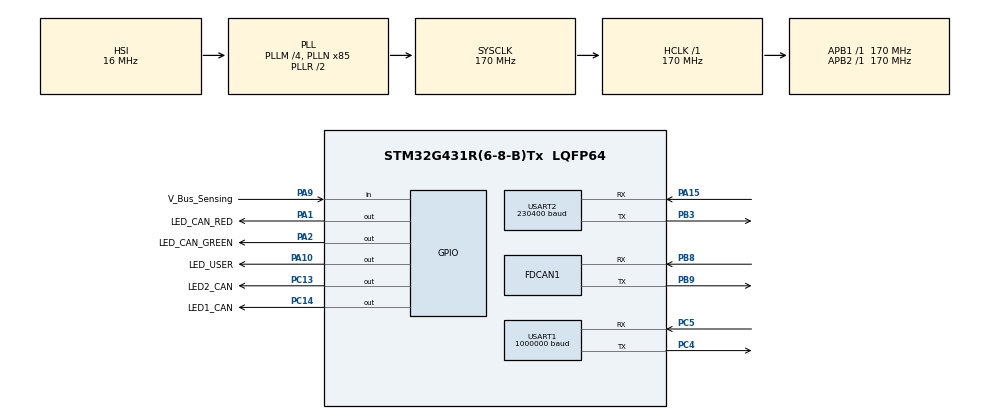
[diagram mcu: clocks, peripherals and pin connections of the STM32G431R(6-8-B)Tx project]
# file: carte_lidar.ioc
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FDCAN1.CalculateBaudRateNominal=499999
FDCAN1.CalculateTimeBitNominal=2000
FDCAN1.CalculateTimeQuantumNominal=23.529411764705884
FDCAN1.DataPrescaler=10
FDCAN1.DataSyncJumpWidth=11
FDCAN1.DataTimeSeg1=22
FDCAN1.DataTimeSeg2=11
FDCAN1.NominalPrescaler=4
FDCAN1.NominalSyncJumpWidth=28
FDCAN1.NominalTimeSeg1=56
FDCAN1.NominalTimeSeg2=28
Mcu.Family=STM32G4
Mcu.Name=STM32G431R(6-8-B)Tx
Mcu.Package=LQFP64
NVIC.FDCAN1_IT0_IRQn=true\:0\:0\:false\:false\:true\:true\:true\:true
NVIC.FDCAN1_IT1_IRQn=true\:0\:0\:false\:false\:true\:true\:true\:true
NVIC.PriorityGroup=NVIC_PRIORITYGROUP_4
NVIC.TIM2_IRQn=true\:0\:0\:false\:false\:true\:true\:true\:true
NVIC.TIM6_DAC_IRQn=true\:0\:0\:false\:false\:true\:true\:true\:true
NVIC.USART1_IRQn=true\:0\:0\:false\:false\:true\:true\:true\:true
PA1.GPIO_Label=LED_CAN_RED
PA1.Signal=GPIO_Output
PA10.GPIO_Label=LED_USER
PA10.Signal=GPIO_Output
PA13.Mode=Serial_Wire
PA13.Signal=SYS_JTMS-SWDIO
PA14.Mode=Serial_Wire
PA14.Signal=SYS_JTCK-SWCLK
PA15.GPIO_PuPd=GPIO_PULLUP
PA15.Mode=Asynchronous
PA15.Signal=USART2_RX
PA2.GPIO_Label=LED_CAN_GREEN
PA2.Signal=GPIO_Output
PA9.GPIO_Label=V_Bus_Sensing
PA9.Signal=GPIO_Input
PB3.Mode=Asynchronous
PB3.Signal=USART2_TX
PB8-BOOT0.Mode=FDCAN_Activate
PB8-BOOT0.Signal=FDCAN1_RX
PB9.Mode=FDCAN_Activate
PB9.Signal=FDCAN1_TX
PC13.GPIO_Label=LED2_CAN
PC13.Signal=GPIO_Output
PC14-OSC32_IN.GPIO_Label=LED1_CAN
PC14-OSC32_IN.Signal=GPIO_Output
PC4.Mode=Asynchronous
PC4.Signal=USART1_TX
PC5.Mode=Asynchronous
PC5.Signal=USART1_RX
PF0-OSC_IN.Mode=HSE-External-Clock-Source
PF0-OSC_IN.Signal=RCC_OSC_IN
ProjectManager.HeapSize=0x200
ProjectManager.StackSize=0x400
ProjectManager.TargetToolchain=CMake
RCC.ADC12Freq_Value=170000000
RCC.AHBFreq_Value=170000000
RCC.APB1Freq_Value=170000000
RCC.APB1TimFreq_Value=170000000
RCC.APB2Freq_Value=170000000
RCC.APB2TimFreq_Value=170000000
RCC.CortexFreq_Value=170000000
RCC.EXTERNAL_CLOCK_VALUE=12288000
RCC.HCLKFreq_Value=170000000
RCC.HSE_VALUE=8000000
RCC.HSI48_VALUE=48000000
RCC.HSI_VALUE=16000000
RCC.LSE_VALUE=32768
RCC.PLLM=RCC_PLLM_DIV4
RCC.PLLN=85
RCC.PLLQ=RCC_PLLQ_DIV4
RCC.SYSCLKFreq_VALUE=170000000
RCC.SYSCLKSource=RCC_SYSCLKSOURCE_PLLCLK
RCC.USBFreq_Value=85000000
RCC.VCOOutputFreq_Value=340000000
TIM2.AutoReloadPreload=TIM_AUTORELOAD_PRELOAD_DISABLE
TIM2.PeriodNoDither=100
TIM2.Prescaler=17000
TIM6.PeriodNoDither=1000
TIM6.Prescaler=169
USART1.BaudRate=1000000
USART1.VirtualMode-Asynchronous=VM_ASYNC
USART2.BaudRate=230400
USART2.VirtualMode-Asynchronous=VM_ASYNC
VP_SYS_VS_DBSignals.Mode=DisableDeadBatterySignals
VP_TIM2_VS_ClockSourceINT.Mode=Internal
VP_TIM6_VS_ClockSourceINT.Mode=Enable_Timer
board=custom

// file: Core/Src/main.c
/* USER CODE BEGIN Header */
/**
  ******************************************************************************
  * @file           : main.c
  * @brief          : Main program body
  ******************************************************************************
  * @attention
  *
  * Copyright (c) 2026 STMicroelectronics.
  * All rights reserved.
  *
  * This software is licensed under terms that can be found in the LICENSE file
  * in the root directory of this software component.
  * If no LICENSE file comes with this software, it is provided AS-IS.
  *
  ******************************************************************************
  */
/* USER CODE END Header */
#include "main.h"
#include "canopen_cmd.h"
#include "fdcan.h"
#include "lidar_data_processor.h"
#include "tim.h"
#include "usart.h"
#include "gpio.h"

/* USER CODE BEGIN Includes */
# include "lidar_reader.h"
# include "lipkg_copy.h"
# include "stm32g4xx_hal_def.h"
# include <stdio.h>
# include <memory.h>

# include "CO_app_STM32.h"

/* USER CODE END Includes */

void SystemClock_Config(void);
/* USER CODE BEGIN PFP */
# define PUTCHAR_PROTOTYPE int __io_putchar(int ch)
/* USER CODE END PFP */

/* USER CODE BEGIN 0 */
PUTCHAR_PROTOTYPE
{
	HAL_UART_Transmit(&huart1, (uint8_t*)&ch, 1, 0xFFFF);
	return ch;
}

/* USER CODE END 0 */

int main(void)
{

  /* MCU Configuration--------------------------------------------------------*/

  /* Reset of all peripherals, Initializes the Flash interface and the Systick. */
  HAL_Init();

  /* Configure the system clock */
  SystemClock_Config();

  /* Initialize all configured peripherals */
  MX_GPIO_Init();
  MX_FDCAN1_Init();
  MX_TIM2_Init();
  MX_TIM6_Init();
  MX_USART2_UART_Init();
  MX_USART1_UART_Init();
  /* USER CODE BEGIN 2 */

  /** CANopen stack initialization */
  CANopenNodeSTM32 canopenNodeSTM32;
  canopenNodeSTM32.CANHandle = &hfdcan1;
  canopenNodeSTM32.HWInitFunction = MX_FDCAN1_Init;
  canopenNodeSTM32.timerHandle = &htim6;
  canopenNodeSTM32.desiredNodeID = 3;
  canopenNodeSTM32.baudrate = 500;
  canopen_app_init(&canopenNodeSTM32);

  /** Mode POLLING simple - PAS d'interruptions UART2 */
  // __HAL_UART_ENABLE_IT(&huart2, UART_IT_RXNE);  // DÉSACTIVÉ: polling pur

  printf("[LIDAR] Using POLLING mode (simple 1-buffer) for UART2 reception\r\n");
  printf("[LIDAR] LIDAR configured at %lu bauds\r\n", huart2.Init.BaudRate);
  printf("[LIDAR] Buffer size: %d bytes (single buffer)\r\n", LIDAR_RX_BUFFER_SIZE);
  printf("[LIDAR] Ready to receive LIDAR data\r\n");

  canopen_cmd_init();

  /* USER CODE END 2 */

  /* Infinite loop */
  /* USER CODE BEGIN WHILE */

  // Machine à états simple: 0 = FILLING, 1 = PROCESSING
  static int buffer_state = 0;
  static uint16_t buffer_index = 0;

  // Variables de diagnostic
  static uint32_t loop_count = 0;
  static uint32_t last_print_tick = 0;
  static uint32_t bytes_received = 0;
  static uint32_t errors_ore = 0;
  static uint32_t errors_fe = 0;
  static uint32_t errors_ne = 0;

  while (1)
  {
    /* USER CODE END WHILE */

    /* USER CODE BEGIN 3 */

    loop_count++;

	// update the robot position used when calculating the absolute position of the points on the table
	canopen_cmd_fetch_robot_pos();
	// printf("robot pos is %i, %i and %i\r\n", get_robot_x(), get_robot_y(), get_robot_theta());

    // === DIAGNOSTIC: Affiche les flags UART2 toutes les secondes ===
    if (HAL_GetTick() - last_print_tick >= 1000)
    {
      printf("[DEBUG] RXNE=%d ORE=%d FE=%d NE=%d PE=%d TXE=%d TC=%d | Loops=%lu Bytes=%u State=%d Idx=%u\r\n",
        __HAL_UART_GET_FLAG(&huart2, UART_FLAG_RXNE) ? 1 : 0,
        __HAL_UART_GET_FLAG(&huart2, UART_FLAG_ORE) ? 1 : 0,
        __HAL_UART_GET_FLAG(&huart2, UART_FLAG_FE) ? 1 : 0,
        __HAL_UART_GET_FLAG(&huart2, UART_FLAG_NE) ? 1 : 0,
        __HAL_UART_GET_FLAG(&huart2, UART_FLAG_PE) ? 1 : 0,
        __HAL_UART_GET_FLAG(&huart2, UART_FLAG_TXE) ? 1 : 0,
        __HAL_UART_GET_FLAG(&huart2, UART_FLAG_TC) ? 1 : 0,
        loop_count, bytes_received, buffer_state, buffer_index);

      printf("[ERRORS] ORE=%lu FE=%lu NE=%lu\r\n", errors_ore, errors_fe, errors_ne);

      last_print_tick = HAL_GetTick();
      loop_count = 0;  // Reset compteur de loops
    }

    // === CLEAR des flags d'erreur UART2 ===
    if (__HAL_UART_GET_FLAG(&huart2, UART_FLAG_ORE))
    {
      __HAL_UART_CLEAR_FLAG(&huart2, UART_CLEAR_OREF);
      errors_ore++;
    }
    if (__HAL_UART_GET_FLAG(&huart2, UART_FLAG_FE))
    {
      __HAL_UART_CLEAR_FLAG(&huart2, UART_CLEAR_FEF);
      errors_fe++;
    }
    if (__HAL_UART_GET_FLAG(&huart2, UART_FLAG_NE))
    {
      __HAL_UART_CLEAR_FLAG(&huart2, UART_CLEAR_NEF);
      errors_ne++;
    }

    // === ÉTAT FILLING: Remplir le buffer via polling UART2 ===
    if (buffer_state == 0)
    {
      // Polling: Y a-t-il un byte disponible sur UART2 ?
      if (__HAL_UART_GET_FLAG(&huart2, UART_FLAG_RXNE))
      {
        // Lire le byte (efface automatiquement le flag RXNE)
        uint8_t byte = (uint8_t)(huart2.Instance->RDR & 0xFFU);

        // Stocker dans le buffer unique
        lidar_rx_buffer_1[buffer_index] = byte;
        buffer_index++;
        bytes_received++;

        // Buffer plein (4000 bytes) ? → Passer en mode PROCESSING
        if (buffer_index >= LIDAR_RX_BUFFER_SIZE)
        {
          buffer_state = 1;  // PROCESSING
          buffer_index = 0;
        }
      }
    }
    // === ÉTAT PROCESSING: Traiter le buffer complet ===
    else
    {
      // Traiter les 4000 bytes avec AnalysisOne() et détection 360°
      lidar_process_buffer(lidar_rx_buffer_1);

      // Traitement terminé → Retour en mode FILLING
      buffer_state = 0;
      buffer_index = 0;
    }

    canopen_app_process();

  }
  /* USER CODE END 3 */
}

void SystemClock_Config(void)
{
  RCC_OscInitTypeDef RCC_OscInitStruct = {0};
  RCC_ClkInitTypeDef RCC_ClkInitStruct = {0};

  /** Configure the main internal regulator output voltage
  */
  HAL_PWREx_ControlVoltageScaling(PWR_REGULATOR_VOLTAGE_SCALE1_BOOST);

  /** Initializes the RCC Oscillators according to the specified parameters
  * in the RCC_OscInitTypeDef structure.
  */
  RCC_OscInitStruct.OscillatorType = RCC_OSCILLATORTYPE_HSI;
  RCC_OscInitStruct.HSIState = RCC_HSI_ON;
  RCC_OscInitStruct.HSICalibrationValue = RCC_HSICALIBRATION_DEFAULT;
  RCC_OscInitStruct.PLL.PLLState = RCC_PLL_ON;
  RCC_OscInitStruct.PLL.PLLSource = RCC_PLLSOURCE_HSI;
  RCC_OscInitStruct.PLL.PLLM = RCC_PLLM_DIV4;
  RCC_OscInitStruct.PLL.PLLN = 85;
  RCC_OscInitStruct.PLL.PLLP = RCC_PLLP_DIV2;
  RCC_OscInitStruct.PLL.PLLQ = RCC_PLLQ_DIV4;
  RCC_OscInitStruct.PLL.PLLR = RCC_PLLR_DIV2;
  if (HAL_RCC_OscConfig(&RCC_OscInitStruct) != HAL_OK)
  {
    Error_Handler();
  }

  /** Initializes the CPU, AHB and APB buses clocks
  */
  RCC_ClkInitStruct.ClockType = RCC_CLOCKTYPE_HCLK|RCC_CLOCKTYPE_SYSCLK
                              |RCC_CLOCKTYPE_PCLK1|RCC_CLOCKTYPE_PCLK2;
  RCC_ClkInitStruct.SYSCLKSource = RCC_SYSCLKSOURCE_PLLCLK;
  RCC_ClkInitStruct.AHBCLKDivider = RCC_SYSCLK_DIV1;
  RCC_ClkInitStruct.APB1CLKDivider = RCC_HCLK_DIV1;
  RCC_ClkInitStruct.APB2CLKDivider = RCC_HCLK_DIV1;

  if (HAL_RCC_ClockConfig(&RCC_ClkInitStruct, FLASH_LATENCY_4) != HAL_OK)
  {
    Error_Handler();
  }
}

void Error_Handler(void)
{
  /* USER CODE BEGIN Error_Handler_Debug */
  /* User can add his own implementation to report the HAL error return state */
  __disable_irq();
  while (1)
  {
    printf("Error_Handler\r\n");
    HAL_Delay(1000);
  }
  /* USER CODE END Error_Handler_Debug */
}
